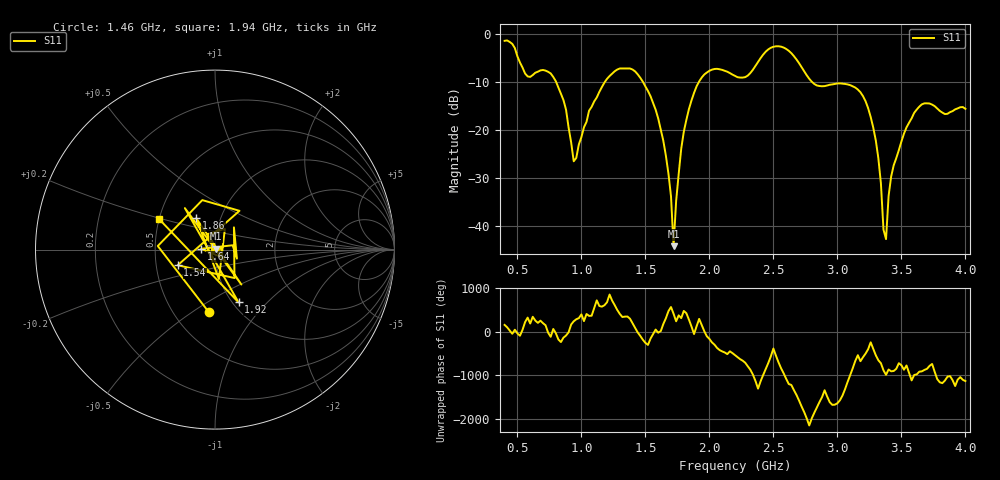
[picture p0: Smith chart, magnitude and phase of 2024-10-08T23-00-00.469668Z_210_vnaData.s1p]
! Created with skrf (http://scikit-rf.org).
# Hz S RI R 50.0
!freq ReS11 ImS11
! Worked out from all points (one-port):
!   181 points, 400 MHz to 4 GHz, reference 50 ohm
!   lowest |S11| = -44.3 dB at 1.72 GHz (marker M1), VSWR 1.01, Z = 50.4 + j0.485 ohm
!   |S11| at or under -10 dB: 803 MHz to 1.182 GHz (379.2 MHz wide, 38.2 % of centre); 1.482 GHz to 1.917 GHz (435.4 MHz wide, 25.6 % of centre); 2.803 GHz to end of sweep
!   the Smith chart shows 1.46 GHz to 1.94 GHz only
!   S11 on the Smith chart (normalised r, x): 1.46 GHz: 0.74, -0.59; 1.54 GHz: 0.65, -0.12; 1.64 GHz: 0.86, +0.01; 1.86 GHz: 0.77, +0.28; 1.92 GHz: 1.07, -0.70; 1.94 GHz: 0.50, +0.19
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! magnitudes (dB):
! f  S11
! 400 MHz  -1.4
! 760 MHz  -8.2
! 860 MHz  -13.8
! 940 MHz  -26.5
! 1.06 GHz  -16.0
! 1.3 GHz  -7.2
! 1.46 GHz  -9.1
! 1.54 GHz  -12.9
! 1.64 GHz  -22.3
! 1.7 GHz  -33.8
! 1.72 GHz  -44.3
! 1.76 GHz  -29.2
! 1.86 GHz  -13.8
! 1.92 GHz  -9.9
! 1.94 GHz  -9.0
! 2.2 GHz  -8.7
! 2.5 GHz  -2.6
! 2.66 GHz  -4.6
! 2.84 GHz  -10.7
! 3.1 GHz  -10.6
! 3.28 GHz  -19.5
! 3.32 GHz  -25.9
! 3.36 GHz  -40.8
! 3.38 GHz  -42.8
! 3.42 GHz  -29.7
! 3.56 GHz  -18.5
! 3.68 GHz  -14.4
! 4 GHz  -15.6
